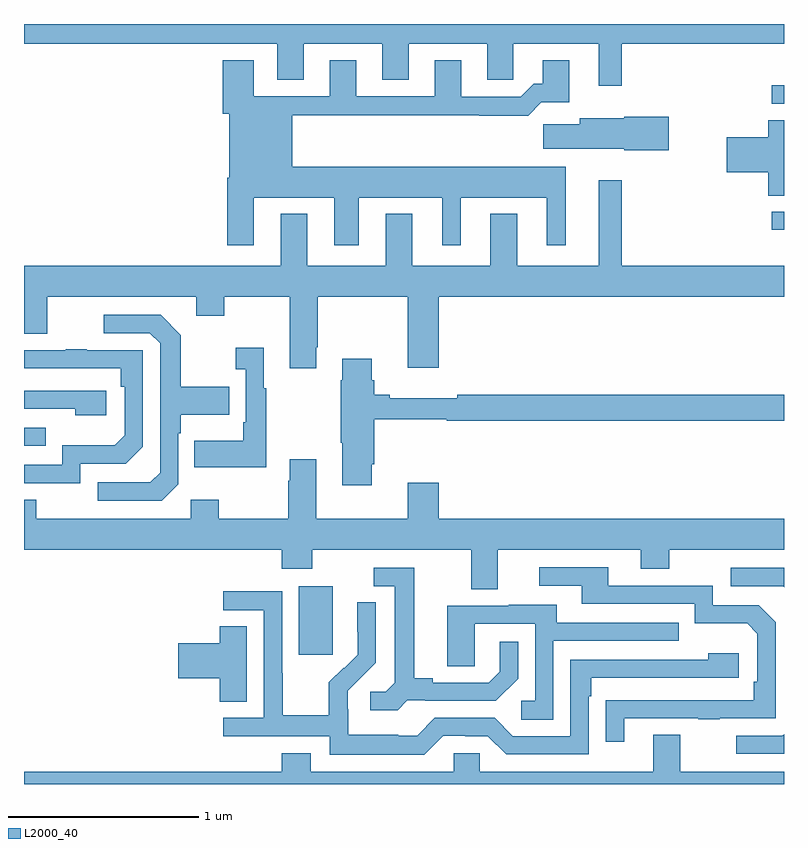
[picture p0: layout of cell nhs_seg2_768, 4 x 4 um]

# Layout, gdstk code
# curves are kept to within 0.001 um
import gdstk
lib = gdstk.Library(unit=1e-6, precision=1e-09)
def R(c, l, rs):  # rectangles x0, y0, x1, y1
    for r in rs: c.add(gdstk.rectangle(r[:2], r[2:], *l))
def P(c, l, *ps):  # polygons
    for p in ps: c.add(gdstk.Polygon(p, *l))
L2000_40 = (2000, 40)

nhs_seg2_768 = lib.new_cell('nhs_seg2_768')
R(nhs_seg2_768, L2000_40, [(152.447,584.481,152.626,584.842), (151,585.579,151.115,585.675), (154.935,586.716,155,586.812), (154.935,587.379,155,587.478)])
P(nhs_seg2_768, L2000_40, [(151,587.696),(152.333,587.696),(152.333,587.506),(152.473,587.506),(152.473,587.696),(152.885,587.696),(152.885,587.506),(153.025,587.506),(153.025,587.696),(153.437,587.696),(153.437,587.506),(153.576,587.506),(153.576,587.696),(154.025,587.696),(154.025,587.475),(154.147,587.475),(154.147,587.696),(155,587.696),(155,587.8),(151,587.8)],
  [(152.209,586.886),(152.633,586.886),(152.633,586.635),(152.761,586.635),(152.761,586.886),(153.2,586.886),(153.2,586.635),(153.298,586.635),(153.298,586.886),(153.752,586.886),(153.752,586.635),(153.85,586.635),(153.85,587.05),(152.413,587.05),(152.413,587.32),(153.397,587.32),(153.397,587.318),(153.653,587.318),(153.722,587.387),(153.871,587.387),(153.871,587.608),(153.731,587.608),(153.731,587.485),(153.682,587.485),(153.615,587.418),(153.301,587.418),(153.301,587.608),(153.161,587.608),(153.161,587.421),(152.749,587.421),(152.749,587.608),(152.609,587.608),(152.609,587.421),(152.209,587.421),(152.209,587.608),(152.045,587.608),(152.045,587.328),(152.081,587.328),(152.081,586.99),(152.069,586.99),(152.069,586.635),(152.209,586.635)],
  [(154.393,587.313),(154.158,587.313),(154.158,587.305),(153.926,587.305),(153.926,587.273),(153.732,587.273),(153.732,587.144),(154.158,587.144),(154.158,587.135),(154.393,587.135)],
  [(155,587.294),(154.916,587.294),(154.916,587.204),(154.698,587.204),(154.698,587.021),(154.916,587.021),(154.916,586.897),(155,586.897)],
  [(152.539,586.099),(152.547,586.099),(152.547,586.364),(153.02,586.364),(153.02,585.99),(153.184,585.99),(153.184,586.364),(155,586.364),(155,586.528),(154.147,586.528),(154.147,586.978),(154.025,586.978),(154.025,586.528),(153.595,586.528),(153.595,586.801),(153.455,586.801),(153.455,586.528),(153.043,586.528),(153.043,586.801),(152.903,586.801),(152.903,586.528),(152.491,586.528),(152.491,586.801),(152.351,586.801),(152.351,586.528),(151,586.528),(151,586.17),(151.123,586.17),(151.123,586.364),(151.907,586.364),(151.907,586.265),(152.055,586.265),(152.055,586.364),(152.399,586.364),(152.399,585.987),(152.539,585.987)],
  [(151.812,585.378),(151.812,585.647),(151.825,585.647),(151.825,585.743),(152.081,585.743),(152.081,585.891),(151.825,585.891),(151.825,586.163),(151.719,586.269),(151.419,586.269),(151.419,586.173),(151.662,586.173),(151.716,586.119),(151.716,585.438),(151.665,585.387),(151.389,585.387),(151.389,585.291),(151.725,585.291)],
  [(152.275,585.883),(152.263,585.883),(152.263,586.096),(152.115,586.096),(152.115,585.983),(152.166,585.983),(152.166,585.703),(152.154,585.703),(152.154,585.607),(151.897,585.607),(151.897,585.467),(152.275,585.467)],
  [(151.296,585.486),(151.536,585.486),(151.626,585.576),(151.626,586.083),(151.331,586.083),(151.331,586.088),(151.219,586.088),(151.219,586.083),(151,586.083),(151,585.987),(151.51,585.987),(151.51,585.89),(151.53,585.89),(151.53,585.636),(151.477,585.583),(151.2,585.583),(151.2,585.48),(151,585.48),(151,585.384),(151.296,585.384)],
  [(152.83,585.484),(152.843,585.484),(152.843,585.72),(153.226,585.72),(153.226,585.712),(155,585.712),(155,585.848),(153.28,585.848),(153.28,585.829),(152.926,585.829),(152.926,585.848),(152.843,585.848),(152.843,585.926),(152.83,585.926),(152.83,586.039),(152.675,586.039),(152.675,585.926),(152.668,585.926),(152.668,585.595),(152.675,585.595),(152.675,585.372),(152.83,585.372)],
  [(151.432,585.87),(151,585.87),(151,585.774),(151.271,585.774),(151.271,585.74),(151.432,585.74)],
  [(153.493,585.032),(154.247,585.032),(154.247,584.933),(154.395,584.933),(154.395,585.032),(155,585.032),(155,585.196),(153.184,585.196),(153.184,585.385),(153.02,585.385),(153.02,585.196),(152.539,585.196),(152.539,585.508),(152.399,585.508),(152.399,585.395),(152.392,585.395),(152.392,585.196),(152.025,585.196),(152.025,585.295),(151.878,585.295),(151.878,585.196),(151.065,585.196),(151.065,585.295),(151,585.295),(151,585.032),(152.357,585.032),(152.357,584.933),(152.517,584.933),(152.517,585.032),(153.353,585.032),(153.353,584.824),(153.493,584.824)],
  [(154.159,584.145),(154.549,584.145),(154.549,584.14),(154.661,584.14),(154.661,584.145),(154.956,584.145),(154.956,584.652),(154.866,584.742),(154.626,584.742),(154.626,584.844),(154.075,584.844),(154.075,584.94),(153.711,584.94),(153.711,584.844),(153.935,584.844),(153.935,584.748),(154.53,584.748),(154.53,584.645),(154.807,584.645),(154.86,584.592),(154.86,584.338),(154.84,584.338),(154.84,584.241),(154.063,584.24),(154.063,584.022),(154.159,584.022)],
  [(153.018,584.241),(153.112,584.241),(153.112,584.238),(153.484,584.238),(153.6,584.354),(153.6,584.548),(153.503,584.548),(153.503,584.391),(153.446,584.334),(153.151,584.334),(153.151,584.357),(153.055,584.357),(153.055,584.937),(152.841,584.937),(152.841,584.841),(152.951,584.841),(152.951,584.333),(152.904,584.286),(152.823,584.286),(152.823,584.189),(152.966,584.189)],
  [(155,584.937),(154.719,584.937),(154.719,584.841),(154.995,584.841),(155,584.836)],
  [(153.207,584.055),(153.323,584.055),(153.323,584.052),(153.441,584.052),(153.537,583.956),(153.972,583.956),(153.972,584.261),(153.985,584.261),(153.985,584.358),(154.762,584.358),(154.762,584.488),(154.601,584.488),(154.601,584.454),(153.876,584.454),(153.876,584.052),(153.573,584.052),(153.477,584.148),(153.162,584.148),(153.069,584.055),(152.969,584.055),(152.969,584.059),(152.706,584.059),(152.706,584.193),(152.704,584.193),(152.704,584.29),(152.85,584.438),(152.85,584.756),(152.754,584.756),(152.754,584.602),(152.756,584.602),(152.756,584.48),(152.685,584.409),(152.682,584.412),(152.605,584.335),(152.605,584.161),(152.361,584.161),(152.361,584.384),(152.358,584.384),(152.358,584.814),(152.049,584.814),(152.049,584.715),(152.262,584.715),(152.262,584.148),(152.049,584.148),(152.049,584.052),(152.61,584.052),(152.61,583.955),(153.107,583.955)],
  [(153.786,584.553),(154.445,584.553),(154.445,584.649),(153.805,584.649),(153.805,584.743),(153.551,584.743),(153.551,584.739),(153.227,584.739),(153.227,584.419),(153.372,584.419),(153.372,584.643),(153.69,584.643),(153.69,584.238),(153.618,584.238),(153.618,584.137),(153.786,584.137)],
  [(152.173,584.63),(152.03,584.63),(152.03,584.54),(151.812,584.54),(151.812,584.357),(152.03,584.357),(152.03,584.233),(152.173,584.233)],
  [(155,584.063),(154.992,584.055),(154.749,584.055),(154.749,583.959),(155,583.959)],
  [(155,583.864),(154.453,583.864),(154.453,584.059),(154.313,584.059),(154.313,583.864),(153.399,583.864),(153.399,583.962),(153.261,583.962),(153.261,583.864),(152.509,583.864),(152.509,583.963),(152.357,583.963),(152.357,583.864),(151,583.864),(151,583.8),(155,583.8)])

lib.write_gds('nhs_seg2_768.gds')
